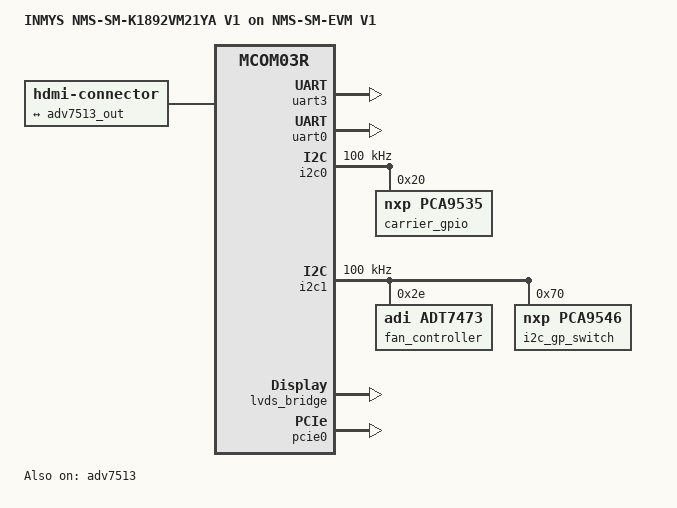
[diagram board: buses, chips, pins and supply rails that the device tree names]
// SPDX-License-Identifier: GPL-2.0+
/*
 * INMYS NMS-SM-EVM V1 - default carrier board for NMS-SM-K1892VM21YA
 *
 * Carrier resources (see HARDWARE.md):
 *   X6   SMARC 2.1 edge connector (314 pin, AS0B826-S78B-7H)
 *   X5   microSD socket                       (module SDMMC0)
 *   X7   RJ45 GbE0, X8 RJ45 GbE1              (module DAP8211 PHYs)
 *   X4   HDMI type A via TPD12S016 (D1)       (module ADV7513)
 *   X23  DisplayPort                          (module DP)
 *   X33  PCIe x4 slot                         (module PCIe0)
 *   X19  miniPCIe                             (module PCIe1)
 *   X9   M.2 M-key (SATA via module TUSB9261)
 *   X10/X11 USB 3.0 / USB 2.0 host ports      (module TUSB8041 hub)
 *   X24/X25 30-pin FPC DSI0/DSI1 displays + touch
 *   X13..X16 CAN0/CAN1 terminals              (module MFBSP0/1)
 *   X34  fan connector + D32 ADT7473 fan controller
 *   D31  PCA9535 GPIO expander (I2C_PM)
 *   D30  PCA9546 I2C switch (I2C_GP -> GP_A / mPCIe / DSI0 / DSI1)
 *
 * Copyright (C) 2026 INMYS
 */

/dts-v1/;

#include <dt-bindings/gpio/gpio.h>
#include <dt-bindings/input/input.h>
#include <dt-bindings/pwm/pwm.h>

#include "nms-sm-k1892vm21ya.dtsi"

/ {
	model = "INMYS NMS-SM-K1892VM21YA V1 on NMS-SM-EVM V1";
	compatible = "inmys,nms-sm-evm",
		     "inmys,nms-sm-k1892vm21ya",
		     "inmys,nms-sm-k1892",
		     "elvees,mcom03r";

	chosen {
		stdout-path = "serial0:115200n8";
	};

	aliases {
		ethernet0 = &emac0;
		ethernet1 = &emac1;
	};

	hdmi_connector: hdmi-connector {
		compatible = "hdmi-connector";
		label = "hdmi";
		type = "a";

		port {
			hdmi_connector_in: endpoint {
				remote-endpoint = <&adv7513_out>;
			};
		};
	};
#if 0
	/*
	 * Backlight for the X24 panel.  SMARC LCD0_BKLT_EN (S127) -> R98 ->
	 * D20 level shifter -> X24.17, and LCD0_BKLT_PWM (S141) -> D20 ->
	 * X24.19.  The enable line is the module's PCAL6416A P0_0, owned by
	 * lcd0_bklt_en in the module device tree.
	 */
	backlight: backlight {
		compatible = "pwm-backlight";
		pwms = <&pwm 0 2000000>; /* 500 Hz, port 0 output B */
		power-supply = <&lcd0_bklt_en>;
		brightness-levels = <100 90 80 70 60 50 40 30 20 10 1 0>;
		default-brightness-level = <10>;
	};
#endif
};

/* ------------------------------------------------------------------ */
/* Console: SER0 (UART3, RS-232 transceiver on the carrier)           */
/* ------------------------------------------------------------------ */

&uart3 {
	status = "okay";
};

/* SER1_DBG (UART0 via the D33 crossbar) is the debug console */
&uart0 {
	status = "okay";
};

/* ------------------------------------------------------------------ */
/* Carrier I2C devices                                                */
/* ------------------------------------------------------------------ */

/* I2C_PM: PCA9535 (D31) */
&i2c0 {
	status = "okay";
	clock-frequency = <100000>;

	carrier_gpio: gpio@20 {
		compatible = "nxp,pca9535";
		reg = <0x20>;
		gpio-controller;
		#gpio-cells = <2>;

		gpio-line-names =
			"DSI0_TP_RST_N", "DSI1_TP_RST_N",
			"DSI0_RST_N", "DSI1_RST_N",
			"CAM0_PWDN#", "I2C_GPIO05",
			"I2C_GPIO06", "I2C_GPIO07",
			"I2C_GPIO10", "I2C_GPIO11",
			"I2C_GPIO12", "I2C_GPIO13",
			"I2C_GPIO14", "I2C_GPIO15",
			"I2C_GPIO16", "I2C_GPIO17";
	};
};

/* I2C_GP: fan controller (D32) and I2C switch (D30) */
&i2c1 {
	status = "okay";
	clock-frequency = <100000>;

	/* ADT7473ARQZ fan controller, 7-bit address 0x2e */
	fan_controller: hwmon@2e {
		compatible = "adi,adt7473";
		reg = <0x2e>;
	};

	i2c_gp_switch: i2c-switch@70 {
		compatible = "nxp,pca9546";
		reg = <0x70>;
		#address-cells = <1>;
		#size-cells = <0>;

		i2c_gp_a: i2c@0 {
			#address-cells = <1>;
			#size-cells = <0>;
			reg = <0>;
		};

		i2c_mpcie: i2c@1 {
			#address-cells = <1>;
			#size-cells = <0>;
			reg = <1>;
		};

		i2c_dsi0: i2c@2 {
			#address-cells = <1>;
			#size-cells = <0>;
			reg = <2>;
		};

		i2c_dsi1: i2c@3 {
			#address-cells = <1>;
			#size-cells = <0>;
			reg = <3>;
		};
	};
};

/* i2c_gp_a: X32 "PLD-10" expansion header */
/* i2c_mpcie: miniPCIe socket X19 */

/* ------------------------------------------------------------------ */
/* HDMI (X4) - ADV7513 is on the module, TPD12S016 on the carrier     */
/* ------------------------------------------------------------------ */

&adv7513 {
	status = "okay";

	ports {
		port@1 {
			reg = <1>;

			adv7513_out: endpoint {
				remote-endpoint = <&hdmi_connector_in>;
			};
		};
	};
};

/* ------------------------------------------------------------------ */
/* LVDS panel (X24) - SN65DSI84 on the module drives SMARC LVDS0        */
/* ------------------------------------------------------------------ */

/*
 * X24 is a 30-pin FPC carrying LVDS0 (S125..S138) plus the LCD0 controls;
 * X25 is the same for LVDS1 / LCD1 and is not described yet.  The panel
 * itself is the 7" 800x480 unit whose timing lives in the module device
 * tree; only the carrier-side wiring is added here.
 *
 * Panel power is SMARC LCD0_VDD_EN (S133) -> R96 -> D22 -> X24.11, which
 * the module drives from PCAL6416A P0_1.
 */
&lvds_bridge {
	status = "okay";
};

#if 0
/*
 * Backlight PWM.  SMARC LCD0_BKLT_PWM (S141) is D2.AW17 = GPIO1_PORTD_3,
 * whose alternate function is PWM_OENB0 - port 0 output B of the
 * elvees-pwm block at 0x1770000 - so elvees,output-channel[0] = 1 selects
 * the B output.  The designware timers cannot reach this pin; see the
 * module device tree.
 */
&pwm {
	status = "okay";
	elvees,output-channel = <1 0 0 0>;
	elvees,state-on-disable = <1 0 0 0>;
	pinctrl-names = "default";
	pinctrl-0 = <&pwm_oenb0_mux>;
};
#endif

&lvds_panel {
	status = "okay";
#if 0
	backlight = <&backlight>;
#endif
	power-supply = <&lcd0_vdd_en>;
};

/* ------------------------------------------------------------------ */
/* PCIe (X33 x4 slot on PCIe0, X19 miniPCIe on PCIe1)                 */
/* ------------------------------------------------------------------ */

/*
 * No reset-gpio here.  The controller drives the PCIx_PERSTN pad itself and
 * only falls back to that when the property is absent.  The
 * `reset-gpios = <&gpio0b 4 GPIO_ACTIVE_LOW>` that used to sit here was
 * doubly wrong: the driver looks for "reset-gpio" (singular), and
 * GPIO0_PORTB_4 is ball BB34 = WDT_TIME_OUT# on SMARC S145, not a PCIe
 * reset at all.
 */
&pcie0 {
	status = "okay";
};

